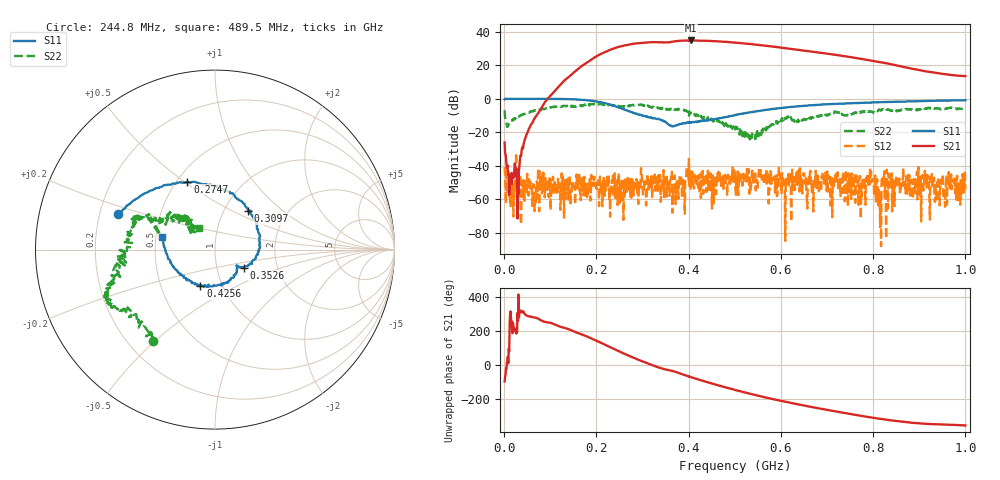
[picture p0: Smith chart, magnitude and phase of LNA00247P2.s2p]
! Created with skrf 1.9.0 (http://scikit-rf.org).
# Hz S RI R 50.0
!freq ReS11 ImS11 ReS21 ImS21 ReS12 ImS12 ReS22 ImS22
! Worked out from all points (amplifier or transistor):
!   1001 points, 1 MHz to 1 GHz, reference 50 ohm
!   highest |S21| = 34.8 dB at 404.6 MHz (marker M1)
!   |S21| within 3 dB of that: 260.6 MHz to 562.8 MHz (302.1 MHz wide, 73.4 % of centre)
!   unconditionally stable (mu >= 1): 3.419 MHz to 84.86 MHz; 297.8 MHz to 400.5 MHz; 400.7 MHz to end of sweep (the widest 3 of 26)
!   at 166.8 MHz: K = 1.63, MAG = 29.1 dB, |S12| = -48.3 dB
!   at 500.5 MHz: K = 1.44, MAG = 34.4 dB, |S12| = -43.0 dB
!   at 1 GHz: K = 7.29, MAG = 22.3 dB, |S12| = -54.2 dB
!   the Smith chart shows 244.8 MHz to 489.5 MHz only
!   S11 on the Smith chart (normalised r, x): 244.8 MHz: 0.28, +0.16; 274.7 MHz: 0.56, +0.51; 309.7 MHz: 1.29, +0.61; 352.6 MHz: 1.35, -0.28; 425.6 MHz: 0.79, -0.34; 489.5 MHz: 0.54, +0.09
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1000000  0.9631 0.00737  -0.00362 -0.0494  -0.00233 0.00883  0.329 0.3116
1.07893e8  0.5215 -0.8479  -0.7359 -1.412  -0.00226 -0.00164  0.4318 -0.3901
1.67833e8  -0.251 -0.8956  -9.416 -0.4621  0.000715 0.00165  0.00105 -0.6419
2.1079e8  -0.6959 -0.3483  -14.76 16.55  0.00126 0.000844  -0.2482 -0.6511
2.44756e8  -0.5384 0.1974  1.072 34.41  -0.00187 -0.000871  -0.3431 -0.5079
2.74726e8  -0.154 0.379  26.56 33.41  0.000294 0.00325  -0.5412 -0.3335
3.09691e8  0.184 0.2158  47.01 10.53  -0.000207 -0.00176  -0.5929 -0.1912
3.34666e8  0.246 0.00319  47.94 -9.95  -0.000465 0.00177  -0.5273 -0.0497
3.52648e8  0.1595 -0.1015  43.63 -20.61  0.0011 0.00451  -0.4848 0.0371
3.75625e8  0.123 -0.1081  39.38 -35.75  -0.000261 0.00261  -0.4502 0.1729
4.04596e8  0.0343 -0.1908  20 -51.47  -0.00163 0.000914  -0.3434 0.1709
4.25575e8  -0.0812 -0.2041  3.335 -54.38  0.000701 0.00379  -0.2029 0.1704
4.55545e8  -0.2205 -0.1105  -18.44 -49.24  0.00213 0.00132  -0.1519 0.1585
4.89511e8  -0.294 0.0721  -35.43 -33.95  0.0036 0.00121  -0.0914 0.1184
5.005e8  -0.2968 0.1405  -38.8 -28.24  0.00582 0.00398  -0.0972 0.0729
5.36464e8  -0.2181 0.3338  -41.81 -8.214  0.00331 -0.00149  -0.0664 -0.000182
5.84416e8  -0.00296 0.5013  -34.19 11.75  0.0037 -0.00176  -0.15 -0.0827
6.25375e8  0.1987 0.5413  -22.43 20.46  0.00182 -0.00128  -0.1884 -0.1244
6.67333e8  0.4055 0.4981  -10.87 23.02  -0.00065 -0.00123  -0.2729 -0.0528
7.52248e8  0.6783 0.2812  4.862 16.86  0.000683 -0.000755  -0.348 0.0166
8.34166e8  0.8011 0.0176  8.603 7.003  -0.00548 -0.000912  -0.4677 0.0794
1e9  0.7275 -0.5349  4.721 0.6088  0.00195 7.65e-06  -0.2647 0.4333
